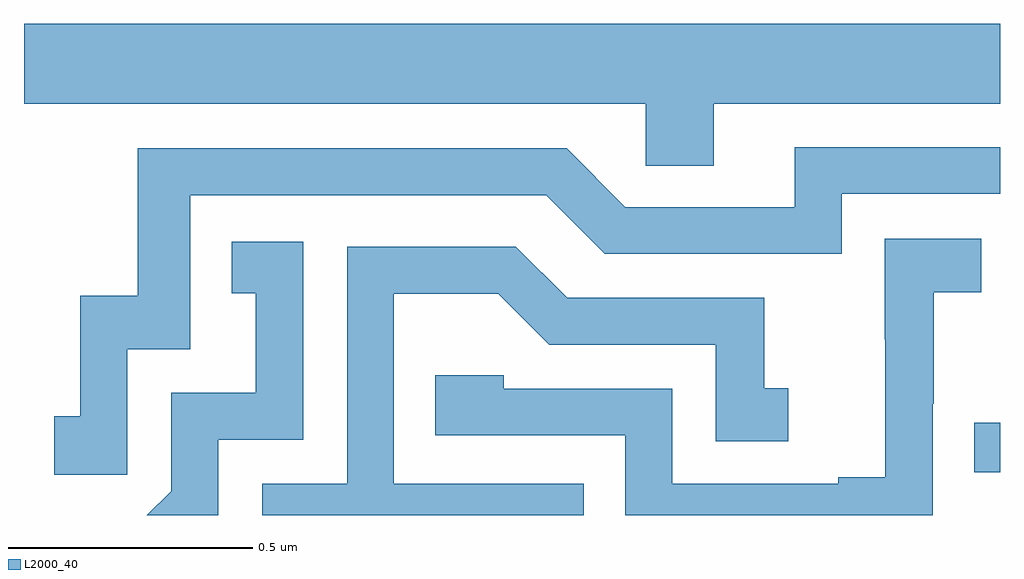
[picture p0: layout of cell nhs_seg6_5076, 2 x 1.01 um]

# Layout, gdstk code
import gdstk
lib = gdstk.Library(unit=1e-6, precision=1e-09)
def R(c, l, rs):  # rectangles x0, y0, x1, y1
    for r in rs: c.add(gdstk.rectangle(r[:2], r[2:], *l))
def P(c, l, *ps):  # polygons
    for p in ps: c.add(gdstk.Polygon(p, *l))
L2000_40 = (2000, 40)

nhs_seg6_5076 = lib.new_cell('nhs_seg6_5076')
R(nhs_seg6_5076, L2000_40, [(179.947,938.589,180,938.69)])
P(nhs_seg6_5076, L2000_40, [(179.413,939.344),(180,939.344),(180,939.508),(178,939.508),(178,939.344),(179.274,939.344),(179.274,939.217),(179.413,939.217)],
  [(178.212,938.841),(178.341,938.841),(178.341,939.156),(179.07,939.156),(179.19,939.036),(179.676,939.036),(179.676,939.159),(180,939.159),(180,939.255),(179.579,939.255),(179.579,939.132),(179.232,939.132),(179.112,939.252),(178.233,939.252),(178.233,938.95),(178.115,938.95),(178.115,938.703),(178.062,938.703),(178.062,938.583),(178.212,938.583)],
  [(179.862,938.729),(179.864,938.729),(179.864,938.957),(179.962,938.957),(179.962,939.067),(179.764,939.067),(179.764,938.861),(179.765,938.861),(179.765,938.578),(179.669,938.578),(179.669,938.565),(179.328,938.565),(179.328,938.76),(178.983,938.76),(178.983,938.787),(178.843,938.787),(178.843,938.664),(179.232,938.664),(179.232,938.5),(179.862,938.5)],
  [(178.398,938.655),(178.572,938.655),(178.572,939.061),(178.426,939.061),(178.426,938.955),(178.475,938.955),(178.475,938.751),(178.302,938.751),(178.302,938.55),(178.252,938.5),(178.398,938.5)],
  [(179.147,938.565),(178.758,938.565),(178.758,938.954),(178.972,938.954),(179.076,938.85),(179.418,938.85),(179.418,938.652),(179.566,938.652),(179.566,938.761),(179.517,938.761),(179.517,938.946),(179.113,938.946),(179.008,939.051),(178.662,939.051),(178.662,938.565),(178.488,938.565),(178.488,938.5),(179.147,938.5)])

lib.write_gds('nhs_seg6_5076.gds')
